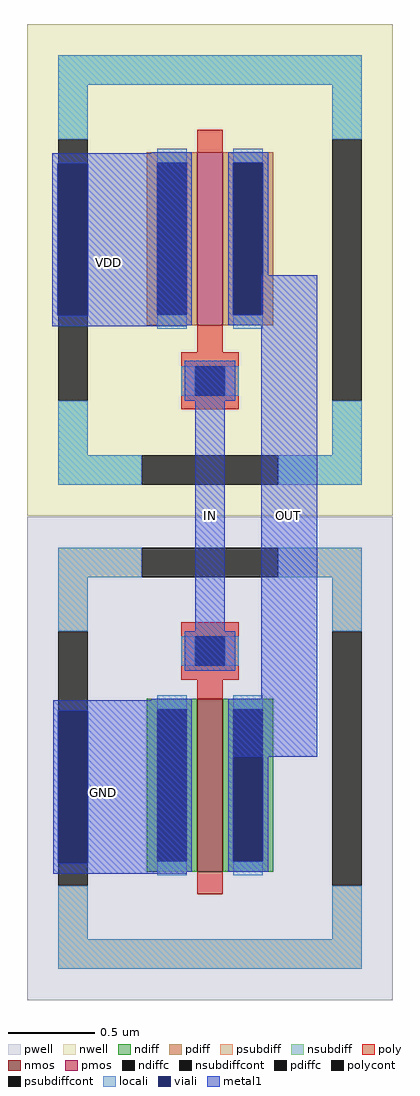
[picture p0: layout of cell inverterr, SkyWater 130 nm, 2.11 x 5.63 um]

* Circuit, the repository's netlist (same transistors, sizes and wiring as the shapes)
** sch_path: /home/fauzann/inverter/inverterr.sch
.subckt inverterr vdd in gnd out
*.PININFO vdd:I in:I gnd:I out:O
XM4 out in gnd gnd sky130_fd_pr__nfet_01v8 L=0.15 W=1 nf=1 m=1
XM5 out in vdd vdd sky130_fd_pr__pfet_01v8 L=0.15 W=1 nf=1 m=1
.ends
.end

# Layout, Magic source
magic
tech sky130A
magscale 1 2
<< viali >>
rect -23 854 12 1030
rect -22 222 12 398
<< metal1 >>
rect -29 1030 126 1042
rect -29 854 -23 1030
rect 12 854 126 1030
rect -29 842 126 854
rect 136 448 170 795
rect 212 410 277 901
rect -28 398 126 410
rect -28 222 -22 398
rect 12 222 126 398
rect 180 345 277 410
rect -28 210 126 222
use sky130_fd_pr__nfet_01v8_64V4AY  XM4
transform 1 0 153 0 1 343
box -211 -279 211 279
use sky130_fd_pr__pfet_01v8_QDT3BL  XM5
transform 1 0 153 0 1 907
box -211 -284 211 284
<< labels >>
flabel metal1 36 916 36 916 0 FreeSans 160 0 0 0 VDD
port 1 nsew
flabel metal1 30 304 30 304 0 FreeSans 160 0 0 0 GND
port 2 nsew
flabel metal1 244 624 244 624 0 FreeSans 160 0 0 0 OUT
port 3 nsew
flabel metal1 154 624 154 624 0 FreeSans 160 0 0 0 IN
port 4 nsew
<< end >>

# cell sky130_fd_pr__nfet_01v8_64V4AY: kit device sky130_fd_pr__nfet_01v8, w 1.0 l 0.15 m 1 nf 1 diffcov 100 polycov 100 guard 1 glc 1 grc 1 gtc 1 gbc 0 tbcov 100 rlcov 100 topc 1 botc 0 poverlap 0 doverlap 1 lmin 0.15 wmin 0.42 compatible {sky130_fd_pr__nfet_01v8 sky130_fd_pr__nfet_01v8_lvt sky130_fd_bs_flash__special_sonosfet_star sky130_fd_pr__nfet_g5v0d10v5 sky130_fd_pr__nfet_05v0_nvt sky130_fd_pr__nfet_03v3_nvt} full_metal 1 viasrc 100 viadrn 100 viagate 100 viagb 0 viagr 0 viagl 0 viagt 0

# cell sky130_fd_pr__pfet_01v8_QDT3BL: kit device sky130_fd_pr__pfet_01v8, w 1.0 l 0.15 m 1 nf 1 diffcov 100 polycov 100 guard 1 glc 1 grc 1 gtc 0 gbc 1 tbcov 100 rlcov 100 topc 0 botc 1 poverlap 0 doverlap 1 lmin 0.15 wmin 0.42 compatible {sky130_fd_pr__pfet_01v8 sky130_fd_pr__pfet_01v8_lvt sky130_fd_pr__pfet_01v8_hvt sky130_fd_pr__pfet_g5v0d10v5} full_metal 1 viasrc 100 viadrn 100 viagate 100 viagb 0 viagr 0 viagl 0 viagt 0
